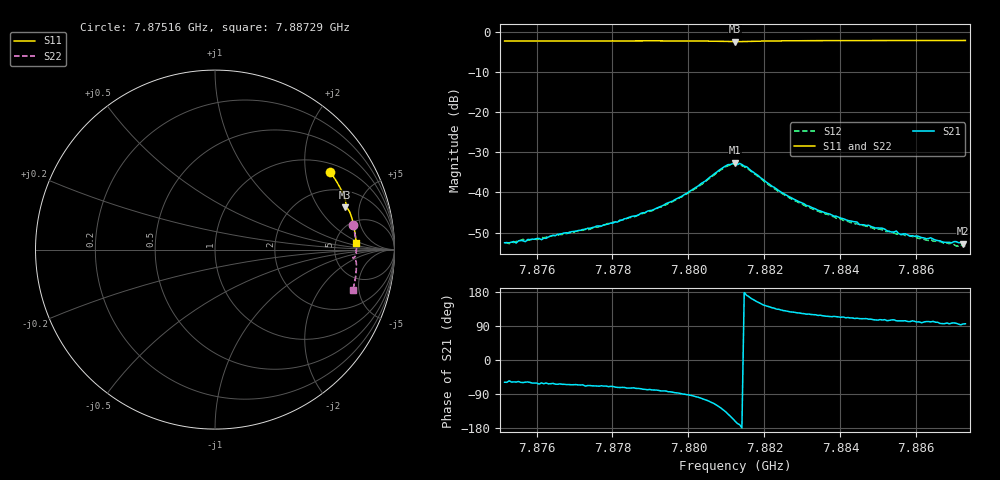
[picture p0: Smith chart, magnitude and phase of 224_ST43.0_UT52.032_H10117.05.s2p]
#  HZ  S  DB  R  50.00
! Rohde & Schwarz Vector Network Analyzer
! Rohde-Schwarz,ZNB20-2Port,1311601062101988,3.16
! Created: UTC 1/12/2023, 6:46:05 PM
! freq[Hz]  db:S11  ang:S11  db:S21  ang:S21  db:S12  ang:S12  db:S22  ang:S22
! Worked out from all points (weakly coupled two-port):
!   201 points, 7.87516 GHz to 7.88729 GHz, reference 50 ohm
!   highest |S21| = -32.58 dB at 7.88123 GHz (marker M1); lowest = -52.8 dB at 7.88723 GHz (marker M2)
!   lowest |S11| = -2.4 dB at 7.88123 GHz (marker M3), VSWR 7.35, Z = 159 + j178 ohm
!   |S11| at or under -10 dB: nowhere
!   |S22| runs from -2.3 to -1.9 dB; largest |S21 - S12| = 0.0021
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7.87516e9  -2.23 34.1  -52.55 -58.7  -52.61 -62.0  -2.16 10.3
7.875464e9  -2.22 33.3  -52.63 -58.2  -52.23 -61.9  -2.15 9.5
7.876009e9  -2.21 31.8  -51.48 -60.9  -51.77 -64.1  -2.14 8.3
7.876131e9  -2.21 31.4  -51.80 -60.4  -51.22 -66.0  -2.14 8.0
7.877223e9  -2.20 28.5  -49.24 -65.6  -49.45 -69.0  -2.10 5.4
7.878132e9  -2.19 26.0  -47.40 -72.2  -47.16 -74.7  -2.09 3.3
7.879224e9  -2.18 22.9  -43.67 -80.4  -43.73 -83.6  -2.07 0.7
7.880073e9  -2.20 20.5  -39.48 -93.6  -39.72 -97.1  -2.08 -1.4
7.880983e9  -2.35 18.2  -33.37 -136.9  -33.59 -140.1  -2.23 -3.4
7.881226e9  -2.38 18.1  -32.58 -160.8  -32.92 -163.2  -2.27 -3.3
7.881529e9  -2.33 18.0  -33.57 170.8  -33.93 168.3  -2.22 -3.3
7.882439e9  -2.17 15.6  -39.94 132.1  -40.12 128.2  -2.04 -5.2
7.883288e9  -2.13 13.2  -43.92 119.6  -44.21 115.3  -2.00 -7.3
7.88438e9  -2.11 10.2  -47.33 109.4  -47.84 106.6  -1.97 -9.8
7.885289e9  -2.10 7.8  -49.72 104.6  -49.71 101.3  -1.96 -11.8
7.885471e9  -2.10 7.3  -49.62 103.5  -50.41 102.0  -1.96 -12.3
7.885593e9  -2.10 7.0  -50.48 103.2  -50.55 100.4  -1.95 -12.5
7.88626e9  -2.09 5.3  -51.55 101.5  -51.90 96.7  -1.95 -13.9
7.886381e9  -2.09 4.9  -51.31 100.7  -51.76 96.1  -1.95 -14.2
7.886745e9  -2.08 4.0  -52.45 95.9  -52.82 94.9  -1.94 -15.0
7.88723e9  -2.08 2.8  -52.78 95.2  -53.30 92.0  -1.93 -16.0
7.887291e9  -2.08 2.6  -52.58 95.5  -53.41 94.4  -1.94 -16.2
